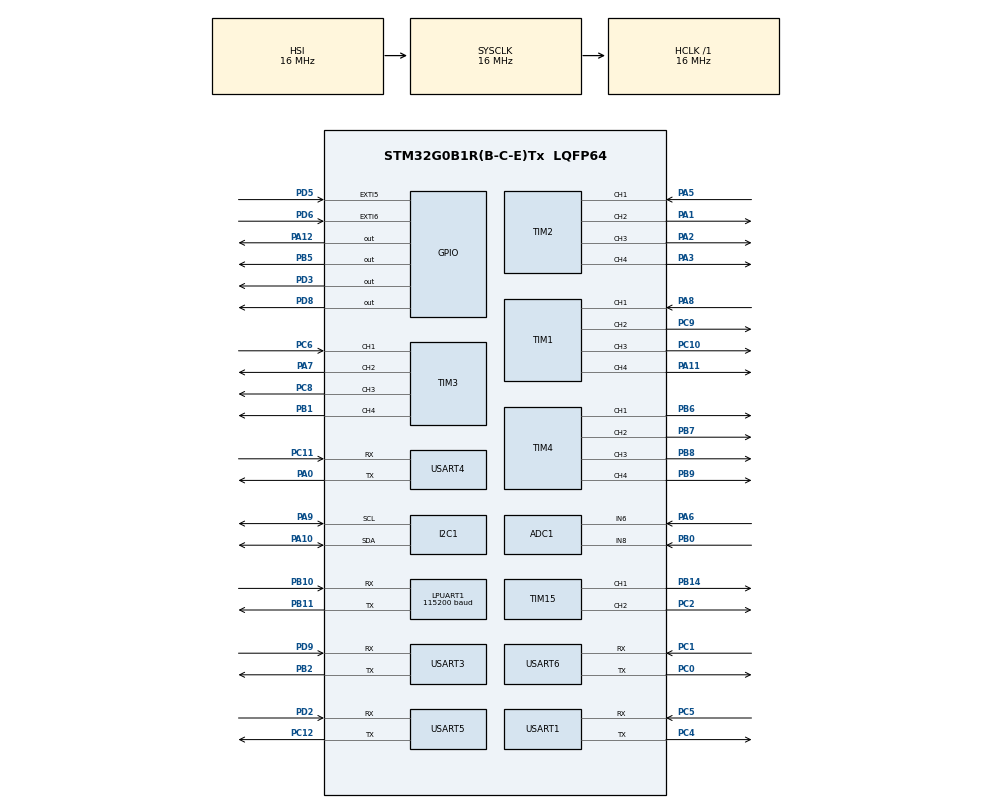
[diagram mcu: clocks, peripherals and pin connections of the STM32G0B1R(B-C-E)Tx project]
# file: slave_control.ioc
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ADC1.Channel-0\#ChannelRegularConversion=ADC_CHANNEL_6
ADC1.NbrOfConversionFlag=1
ADC1.Rank-0\#ChannelRegularConversion=1
ADC1.SamplingTime-0\#ChannelRegularConversion=ADC_SAMPLINGTIME_COMMON_1
ADC1.SelectedChannel=ADC_CHANNEL_6|ADC_CHANNEL_8
ADC1.master=1
Dma.LPUART1_RX.10.Direction=DMA_PERIPH_TO_MEMORY
Dma.LPUART1_RX.10.EventEnable=DISABLE
Dma.LPUART1_RX.10.Instance=DMA1_Channel3
Dma.LPUART1_RX.10.MemDataAlignment=DMA_MDATAALIGN_BYTE
Dma.LPUART1_RX.10.MemInc=DMA_MINC_ENABLE
Dma.LPUART1_RX.10.Mode=DMA_CIRCULAR
Dma.LPUART1_RX.10.PeriphDataAlignment=DMA_PDATAALIGN_BYTE
Dma.LPUART1_RX.10.PeriphInc=DMA_PINC_DISABLE
Dma.LPUART1_RX.10.Polarity=HAL_DMAMUX_REQ_GEN_RISING
Dma.LPUART1_RX.10.Priority=DMA_PRIORITY_LOW
Dma.LPUART1_RX.10.RequestNumber=1
Dma.LPUART1_RX.10.SignalID=NONE
Dma.LPUART1_RX.10.SyncEnable=DISABLE
Dma.LPUART1_RX.10.SyncPolarity=HAL_DMAMUX_SYNC_NO_EVENT
Dma.LPUART1_RX.10.SyncRequestNumber=1
Dma.LPUART1_RX.10.SyncSignalID=NONE
Dma.LPUART1_TX.11.Direction=DMA_MEMORY_TO_PERIPH
Dma.LPUART1_TX.11.EventEnable=DISABLE
Dma.LPUART1_TX.11.Instance=DMA1_Channel4
Dma.LPUART1_TX.11.MemDataAlignment=DMA_MDATAALIGN_BYTE
Dma.LPUART1_TX.11.MemInc=DMA_MINC_ENABLE
Dma.LPUART1_TX.11.Mode=DMA_CIRCULAR
Dma.LPUART1_TX.11.PeriphDataAlignment=DMA_PDATAALIGN_BYTE
Dma.LPUART1_TX.11.PeriphInc=DMA_PINC_DISABLE
Dma.LPUART1_TX.11.Polarity=HAL_DMAMUX_REQ_GEN_RISING
Dma.LPUART1_TX.11.Priority=DMA_PRIORITY_LOW
Dma.LPUART1_TX.11.RequestNumber=1
Dma.LPUART1_TX.11.SignalID=NONE
Dma.LPUART1_TX.11.SyncEnable=DISABLE
Dma.LPUART1_TX.11.SyncPolarity=HAL_DMAMUX_SYNC_NO_EVENT
Dma.LPUART1_TX.11.SyncRequestNumber=1
Dma.LPUART1_TX.11.SyncSignalID=NONE
Dma.Request0=USART1_RX
Dma.Request1=USART1_TX
Dma.Request10=LPUART1_RX
Dma.Request11=LPUART1_TX
Dma.Request2=USART3_RX
Dma.Request3=USART3_TX
Dma.Request4=USART4_RX
Dma.Request5=USART4_TX
Dma.Request6=USART5_TX
Dma.Request7=USART5_RX
Dma.Request8=USART6_RX
Dma.Request9=USART6_TX
Dma.USART1_RX.0.Direction=DMA_PERIPH_TO_MEMORY
Dma.USART1_RX.0.EventEnable=DISABLE
Dma.USART1_RX.0.Instance=DMA1_Channel1
Dma.USART1_RX.0.MemDataAlignment=DMA_MDATAALIGN_BYTE
Dma.USART1_RX.0.MemInc=DMA_MINC_ENABLE
Dma.USART1_RX.0.Mode=DMA_CIRCULAR
Dma.USART1_RX.0.PeriphDataAlignment=DMA_PDATAALIGN_BYTE
Dma.USART1_RX.0.PeriphInc=DMA_PINC_DISABLE
Dma.USART1_RX.0.Polarity=HAL_DMAMUX_REQ_GEN_RISING
Dma.USART1_RX.0.Priority=DMA_PRIORITY_LOW
Dma.USART1_RX.0.RequestNumber=1
Dma.USART1_RX.0.SignalID=NONE
Dma.USART1_RX.0.SyncEnable=DISABLE
Dma.USART1_RX.0.SyncPolarity=HAL_DMAMUX_SYNC_NO_EVENT
Dma.USART1_RX.0.SyncRequestNumber=1
Dma.USART1_RX.0.SyncSignalID=NONE
Dma.USART1_TX.1.Direction=DMA_MEMORY_TO_PERIPH
Dma.USART1_TX.1.EventEnable=DISABLE
Dma.USART1_TX.1.Instance=DMA1_Channel2
Dma.USART1_TX.1.MemDataAlignment=DMA_MDATAALIGN_BYTE
Dma.USART1_TX.1.MemInc=DMA_MINC_ENABLE
Dma.USART1_TX.1.Mode=DMA_CIRCULAR
Dma.USART1_TX.1.PeriphDataAlignment=DMA_PDATAALIGN_BYTE
Dma.USART1_TX.1.PeriphInc=DMA_PINC_DISABLE
Dma.USART1_TX.1.Polarity=HAL_DMAMUX_REQ_GEN_RISING
Dma.USART1_TX.1.Priority=DMA_PRIORITY_LOW
Dma.USART1_TX.1.RequestNumber=1
Dma.USART1_TX.1.SignalID=NONE
Dma.USART1_TX.1.SyncEnable=DISABLE
Dma.USART1_TX.1.SyncPolarity=HAL_DMAMUX_SYNC_NO_EVENT
Dma.USART1_TX.1.SyncRequestNumber=1
Dma.USART1_TX.1.SyncSignalID=NONE
Dma.USART3_RX.2.Direction=DMA_PERIPH_TO_MEMORY
Dma.USART3_RX.2.EventEnable=DISABLE
Dma.USART3_RX.2.Instance=DMA1_Channel5
Dma.USART3_RX.2.MemDataAlignment=DMA_MDATAALIGN_BYTE
Dma.USART3_RX.2.MemInc=DMA_MINC_ENABLE
Dma.USART3_RX.2.Mode=DMA_CIRCULAR
Dma.USART3_RX.2.PeriphDataAlignment=DMA_PDATAALIGN_BYTE
Dma.USART3_RX.2.PeriphInc=DMA_PINC_DISABLE
Dma.USART3_RX.2.Polarity=HAL_DMAMUX_REQ_GEN_RISING
Dma.USART3_RX.2.Priority=DMA_PRIORITY_LOW
Dma.USART3_RX.2.RequestNumber=1
Dma.USART3_RX.2.SignalID=NONE
Dma.USART3_RX.2.SyncEnable=DISABLE
Dma.USART3_RX.2.SyncPolarity=HAL_DMAMUX_SYNC_NO_EVENT
Dma.USART3_RX.2.SyncRequestNumber=1
Dma.USART3_RX.2.SyncSignalID=NONE
Dma.USART3_TX.3.Direction=DMA_MEMORY_TO_PERIPH
Dma.USART3_TX.3.EventEnable=DISABLE
Dma.USART3_TX.3.Instance=DMA1_Channel6
Dma.USART3_TX.3.MemDataAlignment=DMA_MDATAALIGN_BYTE
Dma.USART3_TX.3.MemInc=DMA_MINC_ENABLE
Dma.USART3_TX.3.Mode=DMA_CIRCULAR
Dma.USART3_TX.3.PeriphDataAlignment=DMA_PDATAALIGN_BYTE
Dma.USART3_TX.3.PeriphInc=DMA_PINC_DISABLE
Dma.USART3_TX.3.Polarity=HAL_DMAMUX_REQ_GEN_RISING
Dma.USART3_TX.3.Priority=DMA_PRIORITY_LOW
Dma.USART3_TX.3.RequestNumber=1
Dma.USART3_TX.3.SignalID=NONE
Dma.USART3_TX.3.SyncEnable=DISABLE
Dma.USART3_TX.3.SyncPolarity=HAL_DMAMUX_SYNC_NO_EVENT
Dma.USART3_TX.3.SyncRequestNumber=1
Dma.USART3_TX.3.SyncSignalID=NONE
Dma.USART4_RX.4.Direction=DMA_PERIPH_TO_MEMORY
Dma.USART4_RX.4.EventEnable=DISABLE
Dma.USART4_RX.4.Instance=DMA1_Channel7
Dma.USART4_RX.4.MemDataAlignment=DMA_MDATAALIGN_BYTE
Dma.USART4_RX.4.MemInc=DMA_MINC_ENABLE
Dma.USART4_RX.4.Mode=DMA_CIRCULAR
Dma.USART4_RX.4.PeriphDataAlignment=DMA_PDATAALIGN_BYTE
Dma.USART4_RX.4.PeriphInc=DMA_PINC_DISABLE
Dma.USART4_RX.4.Polarity=HAL_DMAMUX_REQ_GEN_RISING
Dma.USART4_RX.4.Priority=DMA_PRIORITY_LOW
Dma.USART4_RX.4.RequestNumber=1
Dma.USART4_RX.4.SignalID=NONE
Dma.USART4_RX.4.SyncEnable=DISABLE
Dma.USART4_RX.4.SyncPolarity=HAL_DMAMUX_SYNC_NO_EVENT
Dma.USART4_RX.4.SyncRequestNumber=1
Dma.USART4_RX.4.SyncSignalID=NONE
Dma.USART4_TX.5.Direction=DMA_MEMORY_TO_PERIPH
Dma.USART4_TX.5.EventEnable=DISABLE
Dma.USART4_TX.5.Instance=DMA2_Channel1
Dma.USART4_TX.5.MemDataAlignment=DMA_MDATAALIGN_BYTE
Dma.USART4_TX.5.MemInc=DMA_MINC_ENABLE
Dma.USART4_TX.5.Mode=DMA_CIRCULAR
Dma.USART4_TX.5.PeriphDataAlignment=DMA_PDATAALIGN_BYTE
Dma.USART4_TX.5.PeriphInc=DMA_PINC_DISABLE
Dma.USART4_TX.5.Polarity=HAL_DMAMUX_REQ_GEN_RISING
Dma.USART4_TX.5.Priority=DMA_PRIORITY_LOW
Dma.USART4_TX.5.RequestNumber=1
Dma.USART4_TX.5.SignalID=NONE
Dma.USART4_TX.5.SyncEnable=DISABLE
Dma.USART4_TX.5.SyncPolarity=HAL_DMAMUX_SYNC_NO_EVENT
Dma.USART4_TX.5.SyncRequestNumber=1
Dma.USART4_TX.5.SyncSignalID=NONE
Dma.USART5_RX.7.Direction=DMA_PERIPH_TO_MEMORY
Dma.USART5_RX.7.EventEnable=DISABLE
Dma.USART5_RX.7.Instance=DMA2_Channel3
Dma.USART5_RX.7.MemDataAlignment=DMA_MDATAALIGN_BYTE
Dma.USART5_RX.7.MemInc=DMA_MINC_ENABLE
Dma.USART5_RX.7.Mode=DMA_CIRCULAR
Dma.USART5_RX.7.PeriphDataAlignment=DMA_PDATAALIGN_BYTE
Dma.USART5_RX.7.PeriphInc=DMA_PINC_DISABLE
Dma.USART5_RX.7.Polarity=HAL_DMAMUX_REQ_GEN_RISING
Dma.USART5_RX.7.Priority=DMA_PRIORITY_LOW
Dma.USART5_RX.7.RequestNumber=1
Dma.USART5_RX.7.SignalID=NONE
Dma.USART5_RX.7.SyncEnable=DISABLE
Dma.USART5_RX.7.SyncPolarity=HAL_DMAMUX_SYNC_NO_EVENT
Dma.USART5_RX.7.SyncRequestNumber=1
Dma.USART5_RX.7.SyncSignalID=NONE
Dma.USART5_TX.6.Direction=DMA_MEMORY_TO_PERIPH
Dma.USART5_TX.6.EventEnable=DISABLE
Dma.USART5_TX.6.Instance=DMA2_Channel2
Dma.USART5_TX.6.MemDataAlignment=DMA_MDATAALIGN_BYTE
Dma.USART5_TX.6.MemInc=DMA_MINC_ENABLE
Dma.USART5_TX.6.Mode=DMA_CIRCULAR
Dma.USART5_TX.6.PeriphDataAlignment=DMA_PDATAALIGN_BYTE
Dma.USART5_TX.6.PeriphInc=DMA_PINC_DISABLE
Dma.USART5_TX.6.Polarity=HAL_DMAMUX_REQ_GEN_RISING
Dma.USART5_TX.6.Priority=DMA_PRIORITY_LOW
Dma.USART5_TX.6.RequestNumber=1
Dma.USART5_TX.6.SignalID=NONE
Dma.USART5_TX.6.SyncEnable=DISABLE
Dma.USART5_TX.6.SyncPolarity=HAL_DMAMUX_SYNC_NO_EVENT
Dma.USART5_TX.6.SyncRequestNumber=1
Dma.USART5_TX.6.SyncSignalID=NONE
Dma.USART6_RX.8.Direction=DMA_PERIPH_TO_MEMORY
Dma.USART6_RX.8.EventEnable=DISABLE
Dma.USART6_RX.8.Instance=DMA2_Channel4
Dma.USART6_RX.8.MemDataAlignment=DMA_MDATAALIGN_BYTE
Dma.USART6_RX.8.MemInc=DMA_MINC_ENABLE
Dma.USART6_RX.8.Mode=DMA_CIRCULAR
Dma.USART6_RX.8.PeriphDataAlignment=DMA_PDATAALIGN_BYTE
Dma.USART6_RX.8.PeriphInc=DMA_PINC_DISABLE
Dma.USART6_RX.8.Polarity=HAL_DMAMUX_REQ_GEN_RISING
Dma.USART6_RX.8.Priority=DMA_PRIORITY_LOW
Dma.USART6_RX.8.RequestNumber=1
Dma.USART6_RX.8.SignalID=NONE
Dma.USART6_RX.8.SyncEnable=DISABLE
Dma.USART6_RX.8.SyncPolarity=HAL_DMAMUX_SYNC_NO_EVENT
Dma.USART6_RX.8.SyncRequestNumber=1
Dma.USART6_RX.8.SyncSignalID=NONE
Dma.USART6_TX.9.Direction=DMA_MEMORY_TO_PERIPH
Dma.USART6_TX.9.EventEnable=DISABLE
Dma.USART6_TX.9.Instance=DMA2_Channel5
Dma.USART6_TX.9.MemDataAlignment=DMA_MDATAALIGN_BYTE
Dma.USART6_TX.9.MemInc=DMA_MINC_ENABLE
Dma.USART6_TX.9.Mode=DMA_CIRCULAR
Dma.USART6_TX.9.PeriphDataAlignment=DMA_PDATAALIGN_BYTE
Dma.USART6_TX.9.PeriphInc=DMA_PINC_DISABLE
Dma.USART6_TX.9.Polarity=HAL_DMAMUX_REQ_GEN_RISING
Dma.USART6_TX.9.Priority=DMA_PRIORITY_LOW
Dma.USART6_TX.9.RequestNumber=1
Dma.USART6_TX.9.SignalID=NONE
Dma.USART6_TX.9.SyncEnable=DISABLE
Dma.USART6_TX.9.SyncPolarity=HAL_DMAMUX_SYNC_NO_EVENT
Dma.USART6_TX.9.SyncRequestNumber=1
Dma.USART6_TX.9.SyncSignalID=NONE
FREERTOS.Tasks01=defaultTask,24,128,StartDefaultTask,Default,NULL,Dynamic,NULL,NULL
LPUART1.BaudRate=115200
LPUART1.WordLength=UART_WORDLENGTH_8B
Mcu.Family=STM32G0
Mcu.Name=STM32G0B1R(B-C-E)Tx
Mcu.Package=LQFP64
NVIC.DMA1_Ch4_7_DMA2_Ch1_5_DMAMUX1_OVR_IRQn=true\:3\:0\:false\:false\:true\:true\:false\:true
NVIC.DMA1_Channel1_IRQn=true\:3\:0\:false\:false\:true\:true\:false\:true
NVIC.DMA1_Channel2_3_IRQn=true\:3\:0\:false\:false\:true\:true\:false\:true
NVIC.EXTI4_15_IRQn=true\:3\:0\:false\:false\:true\:true\:true\:true
NVIC.TIM6_DAC_LPTIM1_IRQn=true\:0\:0\:false\:false\:true\:false\:false\:true
NVIC.TimeBase=TIM6_DAC_LPTIM1_IRQn
NVIC.TimeBaseIP=TIM6
PA0.Mode=Asynchronous
PA0.Signal=USART4_TX
PA1.Signal=S_TIM2_CH2
PA10.Mode=I2C
PA10.Signal=I2C1_SDA
PA11\ [PA9].Signal=S_TIM1_CH4
PA12\ [PA10].Signal=GPIO_Output
PA2.Signal=S_TIM2_CH3
PA3.Signal=S_TIM2_CH4
PA5.Signal=S_TIM2_CH1
PA6.Mode=IN6
PA6.Signal=ADC1_IN6
PA7.Signal=S_TIM3_CH2
PA8.Signal=S_TIM1_CH1
PA9.Mode=I2C
PA9.Signal=I2C1_SCL
PB0.Mode=IN8
PB0.Signal=ADC1_IN8
PB1.Signal=S_TIM3_CH4
PB10.Mode=Asynchronous
PB10.Signal=LPUART1_RX
PB11.Mode=Asynchronous
PB11.Signal=LPUART1_TX
PB14.Signal=S_TIM15_CH1
PB2.Mode=Asynchronous
PB2.Signal=USART3_TX
PB5.Signal=GPIO_Output
PB6.Signal=S_TIM4_CH1
PB7.Signal=S_TIM4_CH2
PB8.Signal=S_TIM4_CH3
PB9.Signal=S_TIM4_CH4
PC0.Mode=Asynchronous
PC0.Signal=USART6_TX
PC1.Mode=Asynchronous
PC1.Signal=USART6_RX
PC10.Signal=S_TIM1_CH3
PC11.Mode=Asynchronous
PC11.Signal=USART4_RX
PC12.Mode=Asynchronous
PC12.Signal=USART5_TX
PC2.Signal=S_TIM15_CH2
PC4.Mode=Asynchronous
PC4.Signal=USART1_TX
PC5.Mode=Asynchronous
PC5.Signal=USART1_RX
PC6.Signal=S_TIM3_CH1
PC8.Signal=S_TIM3_CH3
PC9.Signal=S_TIM1_CH2
PD2.Mode=Asynchronous
PD2.Signal=USART5_RX
PD3.Signal=GPIO_Output
PD5.Signal=GPXTI5
PD6.Signal=GPXTI6
PD8.Signal=GPIO_Output
PD9.Mode=Asynchronous
PD9.Signal=USART3_RX
ProjectManager.HeapSize=0x200
ProjectManager.StackSize=0x400
ProjectManager.TargetToolchain=MDK-ARM V5
RCC.AHBFreq_Value=16000000
RCC.CortexFreq_Value=16000000
RCC.EXTERNAL_CLOCK_VALUE=48000
RCC.HCLKFreq_Value=16000000
RCC.HSE_VALUE=8000000
RCC.HSI48_VALUE=48000000
RCC.HSI_VALUE=16000000
RCC.LSE_VALUE=32768
RCC.SYSCLKFreq_VALUE=16000000
RCC.USBFreq_Value=48000000
RCC.VCOOutputFreq_Value=128000000
SH.S_TIM15_CH1.0=TIM15_CH1,PWM Generation1 CH1
SH.S_TIM15_CH2.0=TIM15_CH2,PWM Generation2 CH2
SH.S_TIM1_CH1.0=TIM1_CH1,TriggerSource_TI1FP1
SH.S_TIM1_CH2.0=TIM1_CH2,PWM Generation2 CH2
SH.S_TIM1_CH3.0=TIM1_CH3,PWM Generation3 CH3
SH.S_TIM1_CH4.0=TIM1_CH4,PWM Generation4 CH4
SH.S_TIM2_CH1.0=TIM2_CH1,TriggerSource_TI1FP1
SH.S_TIM2_CH2.0=TIM2_CH2,PWM Generation2 CH2
SH.S_TIM2_CH3.0=TIM2_CH3,PWM Generation3 CH3
SH.S_TIM2_CH4.0=TIM2_CH4,PWM Generation4 CH4
SH.S_TIM3_CH1.0=TIM3_CH1,TriggerSource_TI1FP1
SH.S_TIM3_CH2.0=TIM3_CH2,PWM Generation2 CH2
SH.S_TIM3_CH3.0=TIM3_CH3,PWM Generation3 CH3
SH.S_TIM3_CH4.0=TIM3_CH4,Output Compare4 CH4
SH.S_TIM4_CH1.0=TIM4_CH1,PWM Generation1 CH1
SH.S_TIM4_CH2.0=TIM4_CH2,PWM Generation2 CH2
SH.S_TIM4_CH3.0=TIM4_CH3,PWM Generation3 CH3
SH.S_TIM4_CH4.0=TIM4_CH4,PWM Generation4 CH4
TIM1.Channel-PWM\ Generation2\ CH2=TIM_CHANNEL_2
TIM1.Channel-PWM\ Generation3\ CH3=TIM_CHANNEL_3
TIM1.Channel-PWM\ Generation4\ CH4=TIM_CHANNEL_4
TIM15.Channel-PWM\ Generation1\ CH1=TIM_CHANNEL_1
TIM15.Channel-PWM\ Generation2\ CH2=TIM_CHANNEL_2
TIM2.Channel-PWM\ Generation2\ CH2=TIM_CHANNEL_2
TIM2.Channel-PWM\ Generation3\ CH3=TIM_CHANNEL_3
TIM2.Channel-PWM\ Generation4\ CH4=TIM_CHANNEL_4
TIM3.Channel-Output\ Compare4\ CH4=TIM_CHANNEL_4
TIM3.Channel-PWM\ Generation2\ CH2=TIM_CHANNEL_2
TIM3.Channel-PWM\ Generation3\ CH3=TIM_CHANNEL_3
TIM4.Channel-PWM\ Generation1\ CH1=TIM_CHANNEL_1
TIM4.Channel-PWM\ Generation2\ CH2=TIM_CHANNEL_2
TIM4.Channel-PWM\ Generation3\ CH3=TIM_CHANNEL_3
TIM4.Channel-PWM\ Generation4\ CH4=TIM_CHANNEL_4
USART1.VirtualMode-Asynchronous=VM_ASYNC
USART3.VirtualMode-Asynchronous=VM_ASYNC
USART4.VirtualMode-Asynchronous=VM_ASYNC
USART5.VirtualMode-Asynchronous=VM_ASYNC
USART6.VirtualMode-Asynchronous=VM_ASYNC
VP_FREERTOS_VS_CMSIS_V2.Mode=CMSIS_V2
VP_SYS_VS_DBSignals.Mode=DisableDeadBatterySignals
VP_SYS_VS_tim6.Mode=TIM6
VP_TIM1_VS_ControllerModeClock.Mode=Clock Mode
VP_TIM2_VS_ControllerModeClock.Mode=Clock Mode
VP_TIM3_VS_ControllerModeClock.Mode=Clock Mode
board=custom

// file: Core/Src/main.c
/* USER CODE BEGIN Header */
/**
  ******************************************************************************
  * @file           : main.c
  * @brief          : Main program body
  ******************************************************************************
  * @attention
  *
  * <h2><center>&copy; Copyright (c) 2026 STMicroelectronics.
  * All rights reserved.</center></h2>
  *
  * This software component is licensed by ST under Ultimate Liberty license
  * SLA0044, the "License"; You may not use this file except in compliance with
  * the License. You may obtain a copy of the License at:
  *                             www.st.com/SLA0044
  *
  ******************************************************************************
  */
/* USER CODE END Header */
#include "main.h"
#include "cmsis_os.h"
#include "adc.h"
#include "dma.h"
#include "i2c.h"
#include "usart.h"
#include "tim.h"
#include "gpio.h"

void SystemClock_Config(void);
void MX_FREERTOS_Init(void);

int main(void)
{

  /* MCU Configuration--------------------------------------------------------*/

  /* Reset of all peripherals, Initializes the Flash interface and the Systick. */
  HAL_Init();

  /* Configure the system clock */
  SystemClock_Config();

  /* Initialize all configured peripherals */
  MX_GPIO_Init();
  MX_DMA_Init();
  MX_ADC1_Init();
  MX_I2C1_Init();
  MX_TIM1_Init();
  MX_TIM2_Init();
  MX_TIM3_Init();
  MX_TIM4_Init();
  MX_TIM15_Init();
  MX_USART1_UART_Init();
  MX_USART3_UART_Init();
  MX_USART4_UART_Init();
  MX_USART5_UART_Init();
  MX_USART6_UART_Init();
  MX_LPUART1_UART_Init();

  /* Init scheduler */
  osKernelInitialize();  /* Call init function for freertos objects (in freertos.c) */
  MX_FREERTOS_Init();
  /* Start scheduler */
  osKernelStart();

  /* We should never get here as control is now taken by the scheduler */
  /* Infinite loop */
  while (1)
  {

  }
}

void SystemClock_Config(void)
{
  RCC_OscInitTypeDef RCC_OscInitStruct = {0};
  RCC_ClkInitTypeDef RCC_ClkInitStruct = {0};
  RCC_PeriphCLKInitTypeDef PeriphClkInit = {0};

  /** Configure the main internal regulator output voltage
  */
  HAL_PWREx_ControlVoltageScaling(PWR_REGULATOR_VOLTAGE_SCALE1);
  /** Initializes the RCC Oscillators according to the specified parameters
  * in the RCC_OscInitTypeDef structure.
  */
  RCC_OscInitStruct.OscillatorType = RCC_OSCILLATORTYPE_HSI;
  RCC_OscInitStruct.HSIState = RCC_HSI_ON;
  RCC_OscInitStruct.HSIDiv = RCC_HSI_DIV1;
  RCC_OscInitStruct.HSICalibrationValue = RCC_HSICALIBRATION_DEFAULT;
  RCC_OscInitStruct.PLL.PLLState = RCC_PLL_NONE;
  if (HAL_RCC_OscConfig(&RCC_OscInitStruct) != HAL_OK)
  {
    Error_Handler();
  }
  /** Initializes the CPU, AHB and APB buses clocks
  */
  RCC_ClkInitStruct.ClockType = RCC_CLOCKTYPE_HCLK|RCC_CLOCKTYPE_SYSCLK
                              |RCC_CLOCKTYPE_PCLK1;
  RCC_ClkInitStruct.SYSCLKSource = RCC_SYSCLKSOURCE_HSI;
  RCC_ClkInitStruct.AHBCLKDivider = RCC_SYSCLK_DIV1;
  RCC_ClkInitStruct.APB1CLKDivider = RCC_HCLK_DIV1;

  if (HAL_RCC_ClockConfig(&RCC_ClkInitStruct, FLASH_LATENCY_0) != HAL_OK)
  {
    Error_Handler();
  }
  /** Initializes the peripherals clocks
  */
  PeriphClkInit.PeriphClockSelection = RCC_PERIPHCLK_USART1|RCC_PERIPHCLK_USART3
                              |RCC_PERIPHCLK_LPUART1|RCC_PERIPHCLK_I2C1
                              |RCC_PERIPHCLK_ADC|RCC_PERIPHCLK_TIM15
                              |RCC_PERIPHCLK_TIM1;
  PeriphClkInit.Usart1ClockSelection = RCC_USART1CLKSOURCE_PCLK1;
  PeriphClkInit.Lpuart1ClockSelection = RCC_LPUART1CLKSOURCE_PCLK1;
  PeriphClkInit.I2c1ClockSelection = RCC_I2C1CLKSOURCE_PCLK1;
  PeriphClkInit.AdcClockSelection = RCC_ADCCLKSOURCE_SYSCLK;
  PeriphClkInit.Tim1ClockSelection = RCC_TIM1CLKSOURCE_PCLK1;
  PeriphClkInit.Tim15ClockSelection = RCC_TIM15CLKSOURCE_PCLK1;
  PeriphClkInit.Usart3ClockSelection = RCC_USART3CLKSOURCE_PCLK1;
  if (HAL_RCCEx_PeriphCLKConfig(&PeriphClkInit) != HAL_OK)
  {
    Error_Handler();
  }
}

 /**
  * @brief  Period elapsed callback in non blocking mode
  * @note   This function is called  when TIM6 interrupt took place, inside
  * HAL_TIM_IRQHandler(). It makes a direct call to HAL_IncTick() to increment
  * a global variable "uwTick" used as application time base.
  * @param  htim : TIM handle
  * @retval None
  */
void HAL_TIM_PeriodElapsedCallback(TIM_HandleTypeDef *htim)
{
  if (htim->Instance == TIM6) {
    HAL_IncTick();
  }
}

void Error_Handler(void)
{
  __disable_irq();
  while (1)
  {
  }
}

/************************ (C) COPYRIGHT STMicroelectronics *****END OF FILE****/

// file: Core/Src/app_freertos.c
/* USER CODE BEGIN Header */
/**
  ******************************************************************************
  * File Name          : app_freertos.c
  * Description        : Code for freertos applications
  ******************************************************************************
  * @attention
  *
  * <h2><center>&copy; Copyright (c) 2026 STMicroelectronics.
  * All rights reserved.</center></h2>
  *
  * This software component is licensed by ST under Ultimate Liberty license
  * SLA0044, the "License"; You may not use this file except in compliance with
  * the License. You may obtain a copy of the License at:
  *                             www.st.com/SLA0044
  *
  ******************************************************************************
  */
/* USER CODE END Header */

#include "FreeRTOS.h"
#include "task.h"
#include "main.h"
#include "cmsis_os.h"

/* USER CODE BEGIN Includes */
#include "nfc_reader.h"
#include "modbus_slave.h"
#include "debug_uart.h"
/* USER CODE END Includes */

/* USER CODE BEGIN Variables */
static osThreadId_t nfcTaskHandle;
static const osThreadAttr_t nfcTask_attributes = {
  .name       = "nfcTask",
  .priority   = (osPriority_t)osPriorityNormal,
  .stack_size = 512
};

static osThreadId_t modbusTaskHandle;
static const osThreadAttr_t modbusTask_attributes = {
  .name       = "modbusTask",
  .priority   = (osPriority_t)osPriorityAboveNormal,
  .stack_size = 512
};
/* USER CODE END Variables */
/* Definitions for defaultTask */
osThreadId_t defaultTaskHandle;
const osThreadAttr_t defaultTask_attributes = {
  .name = "defaultTask",
  .priority = (osPriority_t) osPriorityNormal,
  .stack_size = 128 * 4
};

/* USER CODE BEGIN FunctionPrototypes */
static void NfcPollTask(void *argument);
/* USER CODE END FunctionPrototypes */

void StartDefaultTask(void *argument);

void MX_FREERTOS_Init(void); /* (MISRA C 2004 rule 8.1) */

void MX_FREERTOS_Init(void) {
  /* USER CODE BEGIN Init */
  NFC_Init();
  Modbus_Init();
  /* USER CODE END Init */

  /* USER CODE BEGIN RTOS_MUTEX */
  g_nfc_mutex = osMutexNew(NULL);
  /* USER CODE END RTOS_MUTEX */

  /* USER CODE BEGIN RTOS_SEMAPHORES */
  g_modbus_rx_sem = osSemaphoreNew(1, 0, NULL);
  g_modbus_tx_sem = osSemaphoreNew(1, 0, NULL);
  g_nfc_tx_sem    = osSemaphoreNew(1, 0, NULL);
  g_nfc_rx_sem    = osSemaphoreNew(1, 0, NULL);
  /* USER CODE END RTOS_SEMAPHORES */

  /* Create the thread(s) */
  /* creation of defaultTask */
  defaultTaskHandle = osThreadNew(StartDefaultTask, NULL, &defaultTask_attributes);

  /* USER CODE BEGIN RTOS_THREADS */
  nfcTaskHandle    = osThreadNew(NfcPollTask,   NULL, &nfcTask_attributes);
  modbusTaskHandle = osThreadNew(Modbus_Task,   NULL, &modbusTask_attributes);
  /* USER CODE END RTOS_THREADS */

  /* USER CODE BEGIN RTOS_EVENTS */
  /* Debug_Init must be after semaphore/mutex creation */
  Debug_Init();
  Debug_Printf("\r\n=== slave_control boot, addr=0x%02X ===\r\n", MODBUS_SLAVE_ADDR);
  /* USER CODE END RTOS_EVENTS */

}

void StartDefaultTask(void *argument)
{
  /* USER CODE BEGIN StartDefaultTask */

  /* Infinite loop */
  for(;;)
  {
    osDelay(2000);
  }
  /* USER CODE END StartDefaultTask */
}

/* USER CODE BEGIN Application */
static void NfcPollTask(void *argument)
{
    (void)argument;
    Debug_Printf("[NFC] Poll task started\r\n");
    for (;;) {
        NFC_PollAll();
        osDelay(1000);
    }
}

void HAL_UARTEx_RxEventCallback(UART_HandleTypeDef *huart, uint16_t Size)
{
    if (huart->Instance == USART6) {
        g_modbus_rx_len = Size;
        osSemaphoreRelease(g_modbus_rx_sem);
    } else if (huart->Instance == USART1 || huart->Instance == USART3 ||
               huart->Instance == USART4 || huart->Instance == USART5) {
        g_nfc_rx_size = Size;
        osSemaphoreRelease(g_nfc_rx_sem);
    }
}

void HAL_UART_TxCpltCallback(UART_HandleTypeDef *huart)
{
    if (huart->Instance == USART6) {
        osSemaphoreRelease(g_modbus_tx_sem);
    } else if (huart->Instance == USART1 || huart->Instance == USART3 ||
               huart->Instance == USART4 || huart->Instance == USART5) {
        osSemaphoreRelease(g_nfc_tx_sem);
    }
}
/* USER CODE END Application */

/************************ (C) COPYRIGHT STMicroelectronics *****END OF FILE****/
